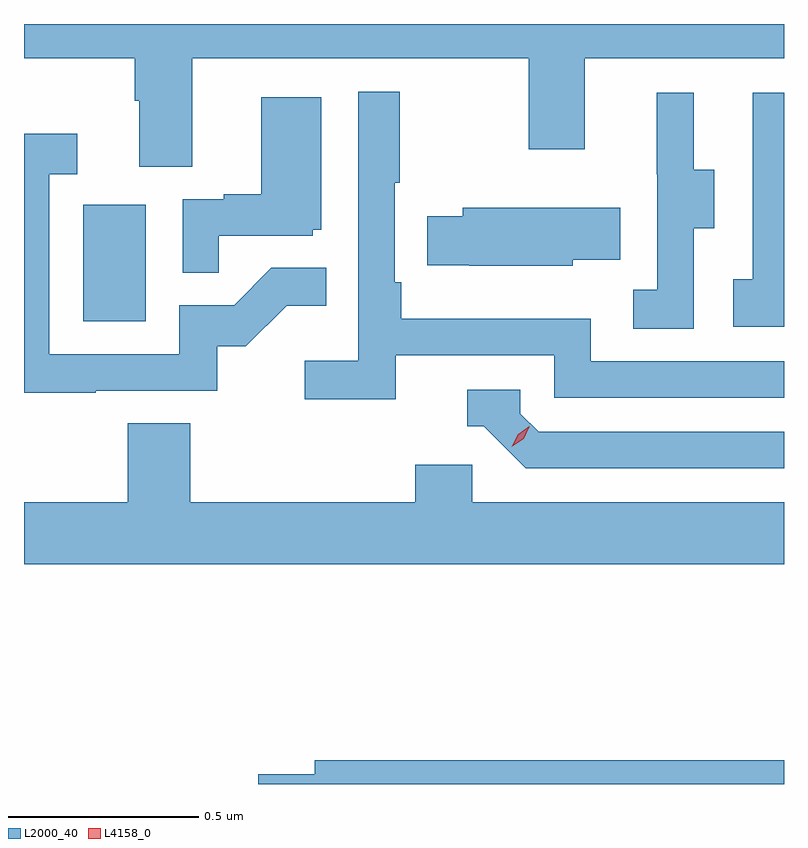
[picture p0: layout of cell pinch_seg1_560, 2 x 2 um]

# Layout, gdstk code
import gdstk
lib = gdstk.Library(unit=1e-6, precision=1e-09)
def R(c, l, rs):  # rectangles x0, y0, x1, y1
    for r in rs: c.add(gdstk.rectangle(r[:2], r[2:], *l))
def P(c, l, *ps):  # polygons
    for p in ps: c.add(gdstk.Polygon(p, *l))
L2000_40 = (2000, 40)
L4158_0 = (4158, 0)

pinch_seg1_560 = lib.new_cell('pinch_seg1_560')
R(pinch_seg1_560, L2000_40, [(1066.418,533.724,1066.582,534.031)])
P(pinch_seg1_560, L2000_40, [(1066.705,534.416),(1067.59,534.416),(1067.59,534.177),(1067.737,534.177),(1067.737,534.416),(1068.262,534.416),(1068.262,534.506),(1066.262,534.506),(1066.262,534.416),(1066.553,534.416),(1066.553,534.304),(1066.565,534.304),(1066.565,534.13),(1066.705,534.13)],
  [(1067.24,533.634),(1067.658,533.634),(1067.658,533.523),(1068.262,533.523),(1068.262,533.619),(1067.754,533.619),(1067.754,533.731),(1067.255,533.731),(1067.255,533.827),(1067.238,533.827),(1067.238,534.088),(1067.251,534.088),(1067.251,534.328),(1067.142,534.328),(1067.142,533.62),(1067.001,533.62),(1067.001,533.518),(1067.24,533.518)],
  [(1068.024,533.968),(1068.079,533.968),(1068.079,534.123),(1068.025,534.123),(1068.025,534.325),(1067.927,534.325),(1067.927,534.111),(1067.928,534.111),(1067.928,533.807),(1067.865,533.807),(1067.865,533.704),(1068.024,533.704)],
  [(1068.262,534.325),(1068.18,534.325),(1068.18,533.834),(1068.129,533.834),(1068.129,533.709),(1068.262,533.709)],
  [(1066.775,533.949),(1067.022,533.949),(1067.022,533.964),(1067.044,533.964),(1067.044,534.313),(1066.886,534.313),(1066.886,534.058),(1066.787,534.058),(1066.787,534.045),(1066.68,534.045),(1066.68,533.851),(1066.775,533.851)],
  [(1066.451,533.541),(1066.77,533.541),(1066.77,533.658),(1066.846,533.658),(1066.953,533.765),(1067.057,533.765),(1067.057,533.864),(1066.913,533.864),(1066.815,533.766),(1066.671,533.766),(1066.671,533.637),(1066.329,533.637),(1066.329,534.111),(1066.402,534.111),(1066.402,534.217),(1066.262,534.217),(1066.262,533.536),(1066.451,533.536)],
  [(1067.706,533.885),(1067.831,533.885),(1067.831,534.022),(1067.417,534.022),(1067.417,534),(1067.323,534),(1067.323,533.871),(1067.434,533.871),(1067.434,533.87),(1067.706,533.87)],
  [(1068.262,533.433),(1067.616,533.433),(1067.568,533.481),(1067.568,533.544),(1067.429,533.544),(1067.429,533.448),(1067.472,533.448),(1067.583,533.337),(1068.262,533.337)],
  [(1068.262,533.248),(1067.442,533.248),(1067.442,533.346),(1067.291,533.346),(1067.291,533.248),(1066.7,533.248),(1066.7,533.456),(1066.535,533.456),(1066.535,533.248),(1066.262,533.248),(1066.262,533.084),(1068.262,533.084)],
  [(1068.262,532.568),(1067.027,532.568),(1067.027,532.532),(1066.878,532.532),(1066.878,532.506),(1068.262,532.506)])
P(pinch_seg1_560, L4158_0, [(1067.546,533.394),(1067.546,533.394),(1067.562,533.427),(1067.592,533.447),(1067.592,533.447),(1067.592,533.446),(1067.577,533.414),(1067.546,533.394)])

lib.write_gds('pinch_seg1_560.gds')
